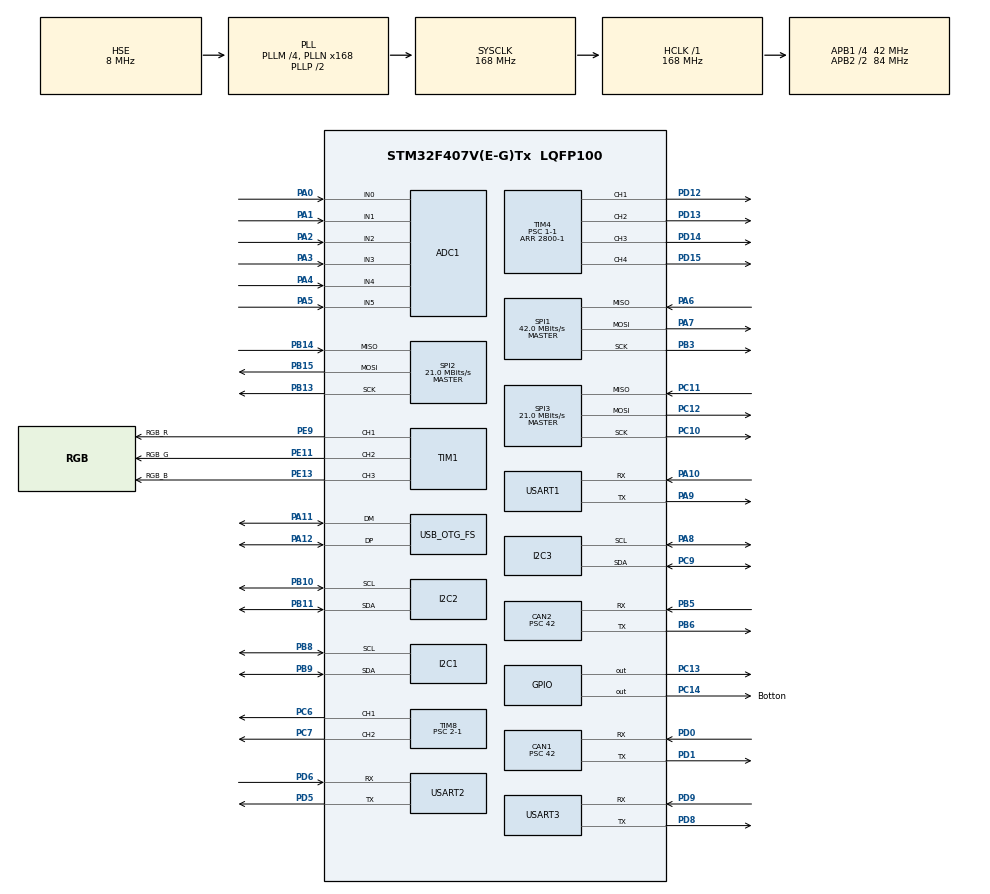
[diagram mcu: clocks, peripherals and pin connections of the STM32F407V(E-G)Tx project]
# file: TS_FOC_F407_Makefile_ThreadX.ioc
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ADC1.Channel-0\#ChannelRegularConversion=ADC_CHANNEL_0
ADC1.Channel-1\#ChannelRegularConversion=ADC_CHANNEL_1
ADC1.Channel-10\#ChannelRegularConversion=ADC_CHANNEL_5
ADC1.Channel-2\#ChannelRegularConversion=ADC_CHANNEL_2
ADC1.Channel-3\#ChannelRegularConversion=ADC_CHANNEL_3
ADC1.Channel-9\#ChannelRegularConversion=ADC_CHANNEL_4
ADC1.ContinuousConvMode=ENABLE
ADC1.DMAContinuousRequests=ENABLE
ADC1.InjNumberOfConversion=0
ADC1.NbrOfConversion=6
ADC1.NbrOfConversionFlag=1
ADC1.Rank-0\#ChannelRegularConversion=1
ADC1.Rank-1\#ChannelRegularConversion=2
ADC1.Rank-10\#ChannelRegularConversion=6
ADC1.Rank-2\#ChannelRegularConversion=3
ADC1.Rank-3\#ChannelRegularConversion=4
ADC1.Rank-9\#ChannelRegularConversion=5
ADC1.SamplingTime-0\#ChannelRegularConversion=ADC_SAMPLETIME_15CYCLES
ADC1.SamplingTime-1\#ChannelRegularConversion=ADC_SAMPLETIME_15CYCLES
ADC1.SamplingTime-10\#ChannelRegularConversion=ADC_SAMPLETIME_15CYCLES
ADC1.SamplingTime-2\#ChannelRegularConversion=ADC_SAMPLETIME_15CYCLES
ADC1.SamplingTime-3\#ChannelRegularConversion=ADC_SAMPLETIME_15CYCLES
ADC1.SamplingTime-9\#ChannelRegularConversion=ADC_SAMPLETIME_15CYCLES
ADC1.master=1
CAN1.BS1=CAN_BS1_7TQ
CAN1.BS2=CAN_BS2_2TQ
CAN1.CalculateBaudRate=100000
CAN1.CalculateTimeBit=10000
CAN1.CalculateTimeQuantum=1000.0
CAN1.Prescaler=42
CAN2.BS1=CAN_BS1_7TQ
CAN2.BS2=CAN_BS2_2TQ
CAN2.CalculateBaudRate=100000
CAN2.CalculateTimeBit=10000
CAN2.CalculateTimeQuantum=1000.0
CAN2.Prescaler=42
CAN2.SJW=CAN_SJW_1TQ
Dma.ADC1.1.Direction=DMA_PERIPH_TO_MEMORY
Dma.ADC1.1.FIFOMode=DMA_FIFOMODE_DISABLE
Dma.ADC1.1.Instance=DMA2_Stream4
Dma.ADC1.1.MemDataAlignment=DMA_MDATAALIGN_HALFWORD
Dma.ADC1.1.MemInc=DMA_MINC_ENABLE
Dma.ADC1.1.Mode=DMA_CIRCULAR
Dma.ADC1.1.PeriphDataAlignment=DMA_PDATAALIGN_HALFWORD
Dma.ADC1.1.PeriphInc=DMA_PINC_DISABLE
Dma.ADC1.1.Priority=DMA_PRIORITY_MEDIUM
Dma.I2C1_RX.7.Direction=DMA_PERIPH_TO_MEMORY
Dma.I2C1_RX.7.FIFOMode=DMA_FIFOMODE_DISABLE
Dma.I2C1_RX.7.Instance=DMA1_Stream0
Dma.I2C1_RX.7.MemDataAlignment=DMA_MDATAALIGN_BYTE
Dma.I2C1_RX.7.MemInc=DMA_MINC_ENABLE
Dma.I2C1_RX.7.Mode=DMA_NORMAL
Dma.I2C1_RX.7.PeriphDataAlignment=DMA_PDATAALIGN_BYTE
Dma.I2C1_RX.7.PeriphInc=DMA_PINC_DISABLE
Dma.I2C1_RX.7.Priority=DMA_PRIORITY_LOW
Dma.I2C1_TX.8.Direction=DMA_MEMORY_TO_PERIPH
Dma.I2C1_TX.8.FIFOMode=DMA_FIFOMODE_DISABLE
Dma.I2C1_TX.8.Instance=DMA1_Stream7
Dma.I2C1_TX.8.MemDataAlignment=DMA_MDATAALIGN_BYTE
Dma.I2C1_TX.8.MemInc=DMA_MINC_ENABLE
Dma.I2C1_TX.8.Mode=DMA_NORMAL
Dma.I2C1_TX.8.PeriphDataAlignment=DMA_PDATAALIGN_BYTE
Dma.I2C1_TX.8.PeriphInc=DMA_PINC_DISABLE
Dma.I2C1_TX.8.Priority=DMA_PRIORITY_LOW
Dma.Request0=USART1_RX
Dma.Request1=ADC1
Dma.Request2=USART3_RX
Dma.Request3=USART3_TX
Dma.Request4=USART1_TX
Dma.Request5=USART2_RX
Dma.Request6=USART2_TX
Dma.Request7=I2C1_RX
Dma.Request8=I2C1_TX
Dma.USART1_RX.0.Direction=DMA_PERIPH_TO_MEMORY
Dma.USART1_RX.0.FIFOMode=DMA_FIFOMODE_DISABLE
Dma.USART1_RX.0.Instance=DMA2_Stream2
Dma.USART1_RX.0.MemDataAlignment=DMA_MDATAALIGN_BYTE
Dma.USART1_RX.0.MemInc=DMA_MINC_ENABLE
Dma.USART1_RX.0.Mode=DMA_NORMAL
Dma.USART1_RX.0.PeriphDataAlignment=DMA_PDATAALIGN_BYTE
Dma.USART1_RX.0.PeriphInc=DMA_PINC_DISABLE
Dma.USART1_RX.0.Priority=DMA_PRIORITY_LOW
Dma.USART1_TX.4.Direction=DMA_MEMORY_TO_PERIPH
Dma.USART1_TX.4.FIFOMode=DMA_FIFOMODE_DISABLE
Dma.USART1_TX.4.Instance=DMA2_Stream7
Dma.USART1_TX.4.MemDataAlignment=DMA_MDATAALIGN_BYTE
Dma.USART1_TX.4.MemInc=DMA_MINC_ENABLE
Dma.USART1_TX.4.Mode=DMA_NORMAL
Dma.USART1_TX.4.PeriphDataAlignment=DMA_PDATAALIGN_BYTE
Dma.USART1_TX.4.PeriphInc=DMA_PINC_DISABLE
Dma.USART1_TX.4.Priority=DMA_PRIORITY_LOW
Dma.USART2_RX.5.Direction=DMA_PERIPH_TO_MEMORY
Dma.USART2_RX.5.FIFOMode=DMA_FIFOMODE_DISABLE
Dma.USART2_RX.5.Instance=DMA1_Stream5
Dma.USART2_RX.5.MemDataAlignment=DMA_MDATAALIGN_BYTE
Dma.USART2_RX.5.MemInc=DMA_MINC_ENABLE
Dma.USART2_RX.5.Mode=DMA_NORMAL
Dma.USART2_RX.5.PeriphDataAlignment=DMA_PDATAALIGN_BYTE
Dma.USART2_RX.5.PeriphInc=DMA_PINC_DISABLE
Dma.USART2_RX.5.Priority=DMA_PRIORITY_LOW
Dma.USART2_TX.6.Direction=DMA_MEMORY_TO_PERIPH
Dma.USART2_TX.6.FIFOMode=DMA_FIFOMODE_DISABLE
Dma.USART2_TX.6.Instance=DMA1_Stream6
Dma.USART2_TX.6.MemDataAlignment=DMA_MDATAALIGN_BYTE
Dma.USART2_TX.6.MemInc=DMA_MINC_ENABLE
Dma.USART2_TX.6.Mode=DMA_NORMAL
Dma.USART2_TX.6.PeriphDataAlignment=DMA_PDATAALIGN_BYTE
Dma.USART2_TX.6.PeriphInc=DMA_PINC_DISABLE
Dma.USART2_TX.6.Priority=DMA_PRIORITY_LOW
Dma.USART3_RX.2.Direction=DMA_PERIPH_TO_MEMORY
Dma.USART3_RX.2.FIFOMode=DMA_FIFOMODE_DISABLE
Dma.USART3_RX.2.Instance=DMA1_Stream1
Dma.USART3_RX.2.MemDataAlignment=DMA_MDATAALIGN_BYTE
Dma.USART3_RX.2.MemInc=DMA_MINC_ENABLE
Dma.USART3_RX.2.Mode=DMA_NORMAL
Dma.USART3_RX.2.PeriphDataAlignment=DMA_PDATAALIGN_BYTE
Dma.USART3_RX.2.PeriphInc=DMA_PINC_DISABLE
Dma.USART3_RX.2.Priority=DMA_PRIORITY_LOW
Dma.USART3_TX.3.Direction=DMA_MEMORY_TO_PERIPH
Dma.USART3_TX.3.FIFOMode=DMA_FIFOMODE_DISABLE
Dma.USART3_TX.3.Instance=DMA1_Stream4
Dma.USART3_TX.3.MemDataAlignment=DMA_MDATAALIGN_BYTE
Dma.USART3_TX.3.MemInc=DMA_MINC_ENABLE
Dma.USART3_TX.3.Mode=DMA_NORMAL
Dma.USART3_TX.3.PeriphDataAlignment=DMA_PDATAALIGN_BYTE
Dma.USART3_TX.3.PeriphInc=DMA_PINC_DISABLE
Dma.USART3_TX.3.Priority=DMA_PRIORITY_LOW
I2C1.I2C_Mode=I2C_Fast
I2C2.I2C_Mode=I2C_Fast
Mcu.Family=STM32F4
Mcu.Name=STM32F407V(E-G)Tx
Mcu.Package=LQFP100
NVIC.ADC_IRQn=true\:0\:0\:false\:false\:true\:false\:true\:true\:true
NVIC.CAN1_RX0_IRQn=true\:0\:0\:false\:false\:true\:false\:true\:true\:true
NVIC.CAN1_RX1_IRQn=true\:0\:0\:false\:false\:true\:false\:true\:true\:true
NVIC.CAN1_SCE_IRQn=true\:0\:0\:false\:false\:true\:false\:true\:true\:true
NVIC.CAN1_TX_IRQn=true\:0\:0\:false\:false\:true\:false\:true\:true\:true
NVIC.CAN2_RX0_IRQn=true\:0\:0\:false\:false\:true\:false\:true\:true\:true
NVIC.CAN2_RX1_IRQn=true\:0\:0\:false\:false\:true\:false\:true\:true\:true
NVIC.CAN2_SCE_IRQn=true\:0\:0\:false\:false\:true\:false\:true\:true\:true
NVIC.CAN2_TX_IRQn=true\:0\:0\:false\:false\:true\:false\:true\:true\:true
NVIC.DMA1_Stream0_IRQn=true\:0\:0\:false\:false\:true\:true\:false\:true\:true
NVIC.DMA1_Stream1_IRQn=true\:0\:0\:false\:false\:true\:true\:false\:true\:true
NVIC.DMA1_Stream4_IRQn=true\:0\:0\:false\:false\:true\:false\:false\:true\:true
NVIC.DMA1_Stream5_IRQn=true\:0\:0\:false\:false\:true\:true\:false\:true\:true
NVIC.DMA1_Stream6_IRQn=true\:0\:0\:false\:false\:true\:true\:false\:true\:true
NVIC.DMA1_Stream7_IRQn=true\:0\:0\:false\:false\:true\:true\:false\:true\:true
NVIC.DMA2_Stream2_IRQn=true\:0\:0\:false\:false\:true\:false\:false\:true\:true
NVIC.DMA2_Stream4_IRQn=true\:0\:0\:false\:false\:true\:false\:false\:true\:true
NVIC.DMA2_Stream7_IRQn=true\:0\:0\:false\:false\:true\:true\:false\:true\:true
NVIC.I2C1_ER_IRQn=true\:0\:0\:false\:false\:true\:false\:true\:true\:true
NVIC.I2C1_EV_IRQn=true\:0\:0\:false\:false\:true\:false\:true\:true\:true
NVIC.I2C2_ER_IRQn=true\:0\:0\:false\:false\:true\:false\:true\:true\:true
NVIC.I2C2_EV_IRQn=true\:0\:0\:false\:false\:true\:false\:true\:true\:true
NVIC.OTG_FS_IRQn=true\:0\:0\:false\:false\:true\:false\:true\:true\:true
NVIC.PriorityGroup=NVIC_PRIORITYGROUP_4
NVIC.SPI2_IRQn=true\:0\:0\:false\:false\:true\:false\:true\:true\:true
NVIC.TIM4_IRQn=true\:0\:0\:false\:false\:true\:false\:true\:true\:true
NVIC.TIM8_TRG_COM_TIM14_IRQn=true\:15\:0\:false\:false\:true\:false\:false\:true\:true
NVIC.TIM8_UP_TIM13_IRQn=true\:15\:0\:false\:false\:true\:false\:false\:true\:true
NVIC.TimeBase=TIM8_UP_TIM13_IRQn
NVIC.TimeBaseIP=TIM13
NVIC.USART1_IRQn=true\:0\:0\:false\:false\:true\:false\:true\:true\:true
NVIC.USART2_IRQn=true\:0\:0\:false\:false\:true\:false\:true\:true\:true
NVIC.USART3_IRQn=true\:0\:0\:false\:false\:true\:false\:true\:true\:true
PA0-WKUP.Signal=ADCx_IN0
PA1.Signal=ADCx_IN1
PA10.Mode=Asynchronous
PA10.Signal=USART1_RX
PA11.Mode=Device_Only
PA11.Signal=USB_OTG_FS_DM
PA12.Mode=Device_Only
PA12.Signal=USB_OTG_FS_DP
PA13.Mode=Serial_Wire
PA13.Signal=SYS_JTMS-SWDIO
PA14.Mode=Serial_Wire
PA14.Signal=SYS_JTCK-SWCLK
PA2.Signal=ADCx_IN2
PA3.Signal=ADCx_IN3
PA4.Signal=ADCx_IN4
PA5.Signal=ADCx_IN5
PA6.Mode=Full_Duplex_Master
PA6.Signal=SPI1_MISO
PA7.Mode=Full_Duplex_Master
PA7.Signal=SPI1_MOSI
PA8.Mode=I2C
PA8.Signal=I2C3_SCL
PA9.Mode=Asynchronous
PA9.Signal=USART1_TX
PB10.GPIO_Pu=GPIO_PULLUP
PB10.Mode=I2C
PB10.Signal=I2C2_SCL
PB11.GPIO_Pu=GPIO_PULLUP
PB11.Mode=I2C
PB11.Signal=I2C2_SDA
PB13.Mode=Full_Duplex_Master
PB13.Signal=SPI2_SCK
PB14.Mode=Full_Duplex_Master
PB14.Signal=SPI2_MISO
PB15.Mode=Full_Duplex_Master
PB15.Signal=SPI2_MOSI
PB3.Mode=Full_Duplex_Master
PB3.Signal=SPI1_SCK
PB5.Mode=CAN_Activate
PB5.Signal=CAN2_RX
PB6.Mode=CAN_Activate
PB6.Signal=CAN2_TX
PB8.GPIO_Pu=GPIO_PULLUP
PB8.Mode=I2C
PB8.Signal=I2C1_SCL
PB9.GPIO_Pu=GPIO_PULLUP
PB9.Mode=I2C
PB9.Signal=I2C1_SDA
PC10.Mode=Full_Duplex_Master
PC10.Signal=SPI3_SCK
PC11.Mode=Full_Duplex_Master
PC11.Signal=SPI3_MISO
PC12.Mode=Full_Duplex_Master
PC12.Signal=SPI3_MOSI
PC13-ANTI_TAMP.Signal=GPIO_Output
PC14-OSC32_IN.GPIO_Label=Botton
PC14-OSC32_IN.PinState=GPIO_PIN_SET
PC14-OSC32_IN.Signal=GPIO_Output
PC6.Signal=S_TIM8_CH1
PC7.Signal=S_TIM8_CH2
PC9.Mode=I2C
PC9.Signal=I2C3_SDA
PD0.Mode=CAN_Activate
PD0.Signal=CAN1_RX
PD1.Mode=CAN_Activate
PD1.Signal=CAN1_TX
PD12.Signal=S_TIM4_CH1
PD13.Signal=S_TIM4_CH2
PD14.Signal=S_TIM4_CH3
PD15.Signal=S_TIM4_CH4
PD5.Mode=Asynchronous
PD5.Signal=USART2_TX
PD6.Mode=Asynchronous
PD6.Signal=USART2_RX
PD8.Mode=Asynchronous
PD8.Signal=USART3_TX
PD9.Mode=Asynchronous
PD9.Signal=USART3_RX
PE11.GPIO_Label=RGB_G
PE11.Signal=S_TIM1_CH2
PE13.GPIO_Label=RGB_B
PE13.Signal=S_TIM1_CH3
PE9.GPIO_Label=RGB_R
PE9.Signal=S_TIM1_CH1
PH0-OSC_IN.Mode=HSE-External-Oscillator
PH0-OSC_IN.Signal=RCC_OSC_IN
PH1-OSC_OUT.Mode=HSE-External-Oscillator
PH1-OSC_OUT.Signal=RCC_OSC_OUT
ProjectManager.HeapSize=0x10000
ProjectManager.StackSize=0x8000
ProjectManager.TargetToolchain=Makefile
RCC.48MHZClocksFreq_Value=48000000
RCC.AHBFreq_Value=168000000
RCC.APB1CLKDivider=RCC_HCLK_DIV4
RCC.APB1Freq_Value=42000000
RCC.APB1TimFreq_Value=84000000
RCC.APB2CLKDivider=RCC_HCLK_DIV2
RCC.APB2Freq_Value=84000000
RCC.APB2TimFreq_Value=168000000
RCC.CortexFreq_Value=168000000
RCC.HCLKFreq_Value=168000000
RCC.HSE_VALUE=8000000
RCC.HSI_VALUE=16000000
RCC.LSE_VALUE=32768
RCC.PLLM=4
RCC.PLLN=168
RCC.PLLQ=7
RCC.SYSCLKFreq_VALUE=168000000
RCC.SYSCLKSource=RCC_SYSCLKSOURCE_PLLCLK
RCC.VCOOutputFreq_Value=336000000
SH.ADCx_IN0.0=ADC1_IN0,IN0
SH.ADCx_IN1.0=ADC1_IN1,IN1
SH.ADCx_IN2.0=ADC1_IN2,IN2
SH.ADCx_IN3.0=ADC1_IN3,IN3
SH.ADCx_IN4.0=ADC1_IN4,IN4
SH.ADCx_IN5.0=ADC1_IN5,IN5
SH.S_TIM1_CH1.0=TIM1_CH1,PWM Generation1 CH1
SH.S_TIM1_CH2.0=TIM1_CH2,PWM Generation2 CH2
SH.S_TIM1_CH3.0=TIM1_CH3,PWM Generation3 CH3
SH.S_TIM4_CH1.0=TIM4_CH1,PWM Generation1 CH1
SH.S_TIM4_CH2.0=TIM4_CH2,PWM Generation2 CH2
SH.S_TIM4_CH3.0=TIM4_CH3,PWM Generation3 CH3
SH.S_TIM4_CH4.0=TIM4_CH4,PWM Generation4 CH4
SH.S_TIM8_CH1.0=TIM8_CH1,PWM Generation1 CH1
SH.S_TIM8_CH2.0=TIM8_CH2,PWM Generation2 CH2
SPI1.CalculateBaudRate=42.0 MBits/s
SPI1.Direction=SPI_DIRECTION_2LINES
SPI1.Mode=SPI_MODE_MASTER
SPI1.VirtualType=VM_MASTER
SPI2.CalculateBaudRate=21.0 MBits/s
SPI2.Direction=SPI_DIRECTION_2LINES
SPI2.Mode=SPI_MODE_MASTER
SPI2.VirtualType=VM_MASTER
SPI3.CalculateBaudRate=21.0 MBits/s
SPI3.Direction=SPI_DIRECTION_2LINES
SPI3.Mode=SPI_MODE_MASTER
SPI3.VirtualType=VM_MASTER
STMicroelectronics.X-CUBE-AZRTOS-F4.1.1.0.AZRTOS_APP_MEM_ALLOCATION_METHOD=1
STMicroelectronics.X-CUBE-AZRTOS-F4.1.1.0.TX_APP_MEM_POOL_SIZE=20480
STMicroelectronics.X-CUBE-AZRTOS-F4.1.1.0.TX_TIMER_TICKS_PER_SECOND=1000
STMicroelectronics.X-CUBE-AZRTOS-F4.1.1.0.ThreadXCcRTOSJjThreadXJjCore=true
STMicroelectronics.X-CUBE-AZRTOS-F4.1.1.0.USBXCcUSBJjUSBXJjCoreSystem=true
STMicroelectronics.X-CUBE-AZRTOS-F4.1.1.0.USBXCcUSBJjUSBXJjUXOoDeviceOoClassOoCDCOoACM=true
STMicroelectronics.X-CUBE-AZRTOS-F4.1.1.0.USBXCcUSBJjUSBXJjUXOoDeviceOoClassOoDFU=true
STMicroelectronics.X-CUBE-AZRTOS-F4.1.1.0.USBXCcUSBJjUSBXJjUXOoDeviceOoControllers=true
STMicroelectronics.X-CUBE-AZRTOS-F4.1.1.0.USBXCcUSBJjUSBXJjUXOoDeviceOoCoreStack=true
STMicroelectronics.X-CUBE-AZRTOS-F4.1.1.0.USBXCcUSBJjUSBXJjUXOoHostOoCoreStack=true
STMicroelectronics.X-CUBE-AZRTOS-F4.1.1.0.UX_DEVICE_CLASS_DFU_ERROR_GET_ENABLE=1
STMicroelectronics.X-CUBE-AZRTOS-F4.1.1.0.UX_DEVICE_CLASS_DFU_STATUS_MODE=0
STMicroelectronics.X-CUBE-AZRTOS-F4.1.1.0.UX_DEVICE_CLASS_DFU_STATUS_POLLTIMEOUT=100
STMicroelectronics.X-CUBE-AZRTOS-F4.1.1.0.UX_DEVICE_SIDE_ONLY=0
STMicroelectronics.X-CUBE-AZRTOS-F4.1.1.0.UX_ENFORCE_SAFE_ALIGNMENT=1
STMicroelectronics.X-CUBE-AZRTOS-F4.1.1.0.UX_HOST_SIDE_ONLY=0
STMicroelectronics.X-CUBE-AZRTOS-F4.1.1.0.UX_MAX_HCD=2
STMicroelectronics.X-CUBE-AZRTOS-F4.1.1.0.UX_OTG_SUPPORT=0
STMicroelectronics.X-CUBE-AZRTOS-F4.1.1.0.UX_THREAD_PRIORITY_HCD=2
STMicroelectronics.X-CUBE-AZRTOS-F4.1.1.0_IsAnAzureRtosMw=true
TIM1.Channel-PWM\ Generation1\ CH1=TIM_CHANNEL_1
TIM1.Channel-PWM\ Generation2\ CH2=TIM_CHANNEL_2
TIM1.Channel-PWM\ Generation3\ CH3=TIM_CHANNEL_3
TIM4.AutoReloadPreload=TIM_AUTORELOAD_PRELOAD_ENABLE
TIM4.Channel-PWM\ Generation1\ CH1=TIM_CHANNEL_1
TIM4.Channel-PWM\ Generation2\ CH2=TIM_CHANNEL_2
TIM4.Channel-PWM\ Generation3\ CH3=TIM_CHANNEL_3
TIM4.Channel-PWM\ Generation4\ CH4=TIM_CHANNEL_4
TIM4.Period=2800-1
TIM4.Prescaler=1-1
TIM8.AutoReloadPreload=TIM_AUTORELOAD_PRELOAD_ENABLE
TIM8.Channel-PWM\ Generation1\ CH1=TIM_CHANNEL_1
TIM8.Channel-PWM\ Generation2\ CH2=TIM_CHANNEL_2
TIM8.Period=2800-1
TIM8.Prescaler=2-1
USART1.VirtualMode=VM_ASYNC
USART2.VirtualMode=VM_ASYNC
USART3.VirtualMode=VM_ASYNC
USB_OTG_FS.VirtualMode=Device_Only
VP_CRC_VS_CRC.Mode=CRC_Activate
VP_RNG_VS_RNG.Mode=RNG_Activate
VP_STMicroelectronics.X-CUBE-AZRTOS-F4_VS_RTOSJjThreadX_6.1.10_1.1.0.Mode=RTOSJjThreadX
VP_STMicroelectronics.X-CUBE-AZRTOS-F4_VS_USBJjUSBX_6.1.10_1.1.0.Mode=USBJjUSBX
VP_SYS_VS_tim13.Mode=TIM13
board=custom

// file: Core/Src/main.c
/* USER CODE BEGIN Header */
/**
  ******************************************************************************
  * @file           : main.c
  * @brief          : Main program body
  ******************************************************************************
  * @attention
  *
  * Copyright (c) 2025 STMicroelectronics.
  * All rights reserved.
  *
  * This software is licensed under terms that can be found in the LICENSE file
  * in the root directory of this software component.
  * If no LICENSE file comes with this software, it is provided AS-IS.
  *
  ******************************************************************************
  */
/* USER CODE END Header */
#include "app_threadx.h"
#include "main.h"
#include "adc.h"
#include "can.h"
#include "crc.h"
#include "dma.h"
#include "i2c.h"
#include "rng.h"
#include "spi.h"
#include "tim.h"
#include "usart.h"
#include "usb_otg.h"
#include "gpio.h"

/* USER CODE BEGIN Includes */
#include <stdio.h>
#include "ts_foc.h"
/* USER CODE END Includes */

/* USER CODE BEGIN PD */
// 通用重定向头文件或代码段
#ifdef __GNUC__
    #define PUTCHAR_PROTOTYPE int __io_putchar(int ch)
#else
    #define PUTCHAR_PROTOTYPE int fputc(int ch, FILE *f)
#endif

PUTCHAR_PROTOTYPE
{
    HAL_UART_Transmit(&huart1, (uint8_t*)&ch, 1, HAL_MAX_DELAY);
    return ch;
}

// GCC 特定部分
#ifdef __GNUC__
int _write(int fd, char *ptr, int len)
{
    HAL_UART_Transmit(&huart1, (uint8_t*)ptr, len, HAL_MAX_DELAY);
    return len;
}
#endif

/* USER CODE END PD */

/* USER CODE BEGIN PM */
Motor * motor1;

/* USER CODE END PM */

void SystemClock_Config(void);

int main(void)
{

  /* MCU Configuration--------------------------------------------------------*/

  /* Reset of all peripherals, Initializes the Flash interface and the Systick. */
  HAL_Init();

  /* Configure the system clock */
  SystemClock_Config();

  /* Initialize all configured peripherals */
  MX_GPIO_Init();
  MX_DMA_Init();
  MX_ADC1_Init();
  MX_CAN1_Init();
  MX_CAN2_Init();
  MX_I2C1_Init();
  MX_I2C2_Init();
  MX_SPI1_Init();
  MX_SPI2_Init();
  MX_TIM4_Init();
  MX_TIM8_Init();
  MX_USART1_UART_Init();
  MX_USB_OTG_FS_PCD_Init();
  MX_CRC_Init();
  MX_RNG_Init();
  MX_USART2_UART_Init();
  MX_USART3_UART_Init();
  MX_TIM1_Init();
  MX_I2C3_Init();
  MX_SPI3_Init();
  /* USER CODE BEGIN 2 */

  // 开启ADC DMA传输
  HAL_ADC_Start_DMA(&hadc1,(uint32_t *)adc_buffer, 6); // 启动 ADC DMA 传输
  // 开启pwm输出
  HAL_TIM_PWM_Start(&htim4, TIM_CHANNEL_4);
  HAL_TIM_PWM_Start(&htim8, TIM_CHANNEL_1);
  HAL_TIM_PWM_Start(&htim8, TIM_CHANNEL_2);
  HAL_Delay(1000);
  // 实例化电机
  motor1 = (Motor *)malloc(sizeof(Motor) * 1);
  // 电机参数配置
  Thread_Motor_Control_parama1.Motor1_handle = (ULONG)motor1;
  motor1->Motor_ID = 1;
  motor1->PP = 7;
  motor1->DIR = -1;
  motor1->voltage_power_supply = 12.0;
  motor1->zero_electric_angle = 0;
  // 角度传感器初始化
  motor1->As5600_Sensor = (As5600_Sensor_Typedef *)malloc(sizeof(As5600_Sensor_Typedef) * 1);
  motor1->As5600_Sensor->Rotations = 0;
  motor1->As5600_Sensor->i2c_handle = &hi2c1;
  Read_AS5600_Angle(motor1->As5600_Sensor);
  // 电流传感器初始化
  motor1->Inlinecurrent = (Inlinecurrent_Typedef *)malloc(sizeof(Inlinecurrent_Typedef) * 1);
  motor1->Inlinecurrent->A = 0;
  motor1->Inlinecurrent->B = 1;
  motor1->Inlinecurrent->C = 2;
  motor1->Inlinecurrent->I_a = 0;
  motor1->Inlinecurrent->I_b = 0;
  motor1->Ualpha = motor1->Ubeta = motor1->Ua = motor1->Ub = motor1->Uc = 0;
  motor1->Inlinecurrent->offset_ia = 0;
  motor1->Inlinecurrent->offset_ib = 0;
  motor1->Inlinecurrent->gain_a = 0;
  motor1->Inlinecurrent->gain_b = 0;
  motor1->Inlinecurrent->gain_c = 0;
  // pid参数配置
  motor1->Pid_Ang = (Pid_Typedef *)malloc(sizeof(Pid_Typedef) * 1);
  Pid_Ang_Init(motor1->Pid_Ang, 2, 0, 0, 100000, 100000);
  motor1->Pid_Vel = (Pid_Typedef *)malloc(sizeof(Pid_Typedef) * 1);
  Pid_Vel_Init(motor1->Pid_Vel,2,0,0,10000,motor1->voltage_power_supply/2);
  motor1->Pid_Curr = (Pid_Typedef *)malloc(sizeof(Pid_Typedef) * 1);
  Pid_Curr_Init(motor1->Pid_Curr, 5, 200, 0, 100000, 100000);
  // lowpass滤波器配置
  motor1->Lowpass_Filter_Vel = (Lowpass_Filter_Typedef *)malloc(sizeof(Lowpass_Filter_Typedef) * 1);
  motor1->Lowpass_Filter_Curr = (Lowpass_Filter_Typedef *)malloc(sizeof(Lowpass_Filter_Typedef) * 1);
  Lowpass_Filter_Init(motor1->Lowpass_Filter_Vel, 0.01);
  Lowpass_Filter_Init(motor1->Lowpass_Filter_Curr, 0.05);

  // 电机参数配置
  motor1->diagnostic = (MotorIdentifyDiagnostic*)malloc(sizeof(MotorIdentifyDiagnostic) * 1);

  // pwm通道配置
  motor1->Motor_Set_Compare1 = Motor1_Set_Compare1;
  motor1->Motor_Set_Compare2 = Motor1_Set_Compare2;
  motor1->Motor_Set_Compare3 = Motor1_Set_Compare3;
  // 更新一次电机角度
  Read_AS5600_Angle(motor1->As5600_Sensor);

  /* USER CODE END 2 */

  MX_ThreadX_Init();

  /* We should never get here as control is now taken by the scheduler */

  /* Infinite loop */
  while (1)
  {

  }
}

void SystemClock_Config(void)
{
  RCC_OscInitTypeDef RCC_OscInitStruct = {0};
  RCC_ClkInitTypeDef RCC_ClkInitStruct = {0};

  /** Configure the main internal regulator output voltage
  */
  __HAL_RCC_PWR_CLK_ENABLE();
  __HAL_PWR_VOLTAGESCALING_CONFIG(PWR_REGULATOR_VOLTAGE_SCALE1);

  /** Initializes the RCC Oscillators according to the specified parameters
  * in the RCC_OscInitTypeDef structure.
  */
  RCC_OscInitStruct.OscillatorType = RCC_OSCILLATORTYPE_HSE;
  RCC_OscInitStruct.HSEState = RCC_HSE_ON;
  RCC_OscInitStruct.PLL.PLLState = RCC_PLL_ON;
  RCC_OscInitStruct.PLL.PLLSource = RCC_PLLSOURCE_HSE;
  RCC_OscInitStruct.PLL.PLLM = 4;
  RCC_OscInitStruct.PLL.PLLN = 168;
  RCC_OscInitStruct.PLL.PLLP = RCC_PLLP_DIV2;
  RCC_OscInitStruct.PLL.PLLQ = 7;
  if (HAL_RCC_OscConfig(&RCC_OscInitStruct) != HAL_OK)
  {
    Error_Handler();
  }

  /** Initializes the CPU, AHB and APB buses clocks
  */
  RCC_ClkInitStruct.ClockType = RCC_CLOCKTYPE_HCLK|RCC_CLOCKTYPE_SYSCLK
                              |RCC_CLOCKTYPE_PCLK1|RCC_CLOCKTYPE_PCLK2;
  RCC_ClkInitStruct.SYSCLKSource = RCC_SYSCLKSOURCE_PLLCLK;
  RCC_ClkInitStruct.AHBCLKDivider = RCC_SYSCLK_DIV1;
  RCC_ClkInitStruct.APB1CLKDivider = RCC_HCLK_DIV4;
  RCC_ClkInitStruct.APB2CLKDivider = RCC_HCLK_DIV2;

  if (HAL_RCC_ClockConfig(&RCC_ClkInitStruct, FLASH_LATENCY_5) != HAL_OK)
  {
    Error_Handler();
  }
}

void HAL_TIM_PeriodElapsedCallback(TIM_HandleTypeDef *htim)
{
  if (htim->Instance == TIM13)
  {
    HAL_IncTick();
  }
}

void Error_Handler(void)
{
  __disable_irq();
  while (1)
  {
  }
}
